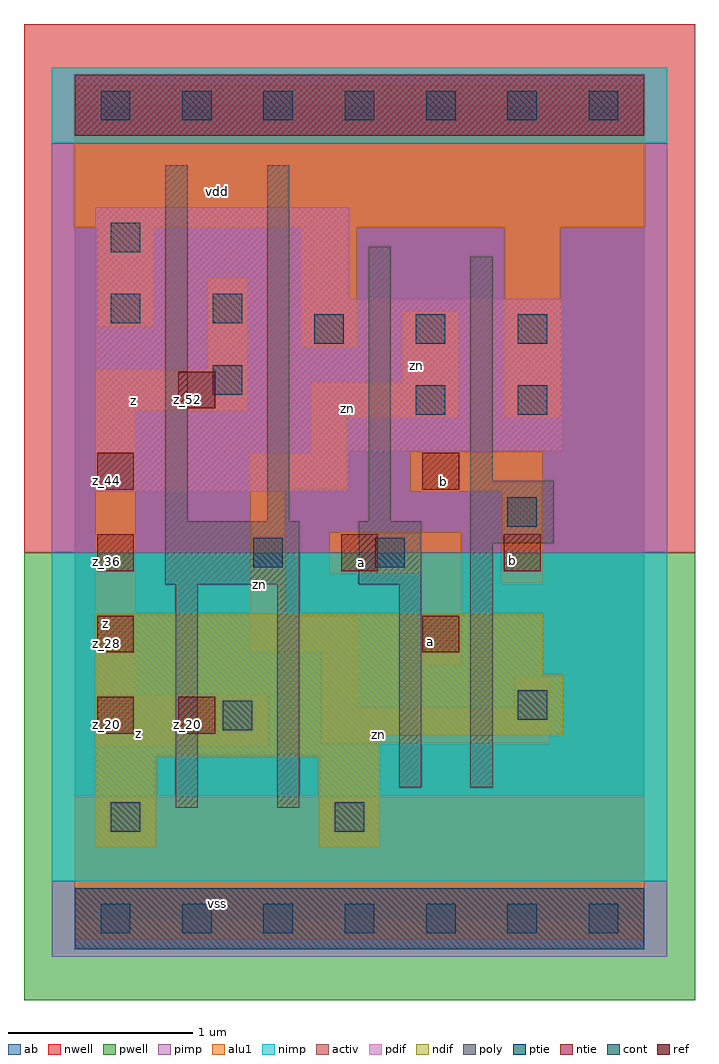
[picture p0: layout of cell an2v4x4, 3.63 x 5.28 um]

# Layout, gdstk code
import gdstk
lib = gdstk.Library(unit=1e-6, precision=2.5e-09)
def R(c, l, rs):  # rectangles x0, y0, x1, y1
    for r in rs: c.add(gdstk.rectangle(r[:2], r[2:], *l))
def A(c, l, x, y, w, h, nx, ny, dx, dy):  # array of equal rectangles
    R(c, l, [(x+i*dx, y+j*dy, x+i*dx+w, y+j*dy+h) for i in range(nx) for j in range(ny)])
ndif = (3, 0)
pdif = (4, 0)
ntie = (5, 0)
ptie = (6, 0)
ref = (24, 0)
cont = (25, 0)
pwell = (41, 0)
nwell = (42, 0)
activ = (43, 0)
pimp = (44, 0)
nimp = (45, 0)
poly = (46, 0)
alu1 = (49, 0)
ab = (63, 0)

an2v4x4 = lib.new_cell('an2v4x4')
R(an2v4x4, ndif, [(0.11,0.385,0.44,0.88), (1.32,0.385,1.65,0.88), (0.11,0.88,1.65,0.99), (0.11,0.99,2.64,1.32), (0.11,1.32,2.53,1.65)])
R(an2v4x4, pdif, [(0.11,2.31,1.485,2.53), (0.11,2.53,2.64,3.355), (0.11,3.355,1.485,3.85)])
R(an2v4x4, ntie, [(0,4.235,3.08,4.565)])
R(an2v4x4, ptie, [(0,-0.165,3.08,0.165)])
A(an2v4x4, ref, 0.12, 1, 0.2, 0.2, 1, 4, 0, 0.44)
R(an2v4x4, ref, [(0.56,1,0.76,1.2), (1.88,1.44,2.08,1.64), (1.44,1.88,1.64,2.08), (2.32,1.88,2.52,2.08), (1.88,2.32,2.08,2.52), (0.56,2.76,0.76,2.96)])
A(an2v4x4, cont, 0.14, -0.08, 0.16, 0.16, 7, 2, 0.44, 4.4)
A(an2v4x4, cont, 1.295, 3.11, 0.16, 0.16, 3, 1, 0.55, 0)
R(an2v4x4, cont, [(0.195,0.47,0.355,0.63), (1.405,0.47,1.565,0.63), (0.8,1.02,0.96,1.18), (2.395,1.075,2.555,1.235), (0.965,1.9,1.125,2.06), (1.625,1.9,1.785,2.06), (2.34,2.12,2.5,2.28), (1.845,2.725,2.005,2.885), (2.395,2.725,2.555,2.885), (0.745,2.835,0.905,2.995), (0.195,3.22,0.355,3.38), (0.745,3.22,0.905,3.38), (0.195,3.605,0.355,3.765)])
R(an2v4x4, pwell, [(-0.275,-0.44,3.355,1.98)])
R(an2v4x4, nwell, [(-0.275,1.98,3.355,4.84)])
R(an2v4x4, activ, [(0,-0.165,3.08,0.165), (0.11,0.385,0.44,0.88), (1.32,0.385,1.65,0.88), (0.11,0.88,1.65,0.99), (0.11,0.99,2.64,1.32), (0.11,1.32,2.53,1.65), (0.11,2.31,1.485,2.53), (0.11,2.53,2.64,3.355), (0.11,3.355,1.485,3.85), (0,4.235,3.08,4.565)])
R(an2v4x4, pimp, [(-0.125,-0.205,3.205,0.205), (-0.125,1.98,3.205,4.195)])
R(an2v4x4, nimp, [(-0.125,0.205,3.205,1.98), (-0.125,4.195,3.205,4.605)])
R(an2v4x4, poly, [(0.545,0.6,0.665,1.81), (1.095,0.6,1.215,1.81), (1.755,0.71,1.875,1.81), (2.14,0.71,2.26,2.03), (0.49,1.81,1.215,2.15), (1.535,1.81,1.875,2.15), (2.14,2.03,2.59,2.37), (0.49,2.15,0.61,4.075), (1.04,2.15,1.16,4.075), (1.59,2.15,1.71,3.635), (2.14,2.37,2.26,3.58)])
R(an2v4x4, alu1, [(0,-0.11,3.08,0.66), (0.11,0.935,1.045,1.21), (1.335,0.95,2.57,1.14), (1.335,1.14,1.525,1.445), (2.38,1.14,2.57,1.305), (0.11,1.21,0.33,2.75), (1.87,1.375,2.09,1.87), (0.95,1.445,1.525,1.635), (0.95,1.635,1.14,2.325), (2.31,1.815,2.53,2.31), (1.375,1.87,2.09,2.09), (1.815,2.31,2.53,2.53), (0.95,2.325,1.47,2.515), (1.28,2.515,1.47,2.71), (1.28,2.71,2.075,2.9), (2.325,2.71,2.625,3.74), (0.11,2.75,0.935,2.97), (1.775,2.9,2.075,3.285), (0.715,2.97,0.935,3.465), (1.225,3.095,1.525,3.74), (0.125,3.205,0.425,3.74), (0,3.74,3.08,4.51)])
R(an2v4x4, ab, [(0,0,3.08,4.4)])
an2v4x4.add(gdstk.Label('vss', (0.77,0.0825), layer=49, texttype=0))
an2v4x4.add(gdstk.Label('zn', (1.6425,0.9975), layer=49, texttype=0))
an2v4x4.add(gdstk.Label('b', (2.365,1.9375), layer=49, texttype=0))
an2v4x4.add(gdstk.Label('a', (1.925,1.4975), layer=49, texttype=0))
an2v4x4.add(gdstk.Label('z', (0.3425,1.0025), layer=49, texttype=0))
an2v4x4.add(gdstk.Label('a', (1.5525,1.925), layer=49, texttype=0))
an2v4x4.add(gdstk.Label('b', (1.9925,2.365), layer=49, texttype=0))
an2v4x4.add(gdstk.Label('zn', (0.9975,1.8075), layer=49, texttype=0))
an2v4x4.add(gdstk.Label('zn', (1.4775,2.7575), layer=49, texttype=0))
an2v4x4.add(gdstk.Label('z', (0.165,1.595), layer=49, texttype=0))
an2v4x4.add(gdstk.Label('zn', (1.85,2.995), layer=49, texttype=0))
an2v4x4.add(gdstk.Label('z', (0.315,2.805), layer=49, texttype=0))
an2v4x4.add(gdstk.Label('vdd', (0.77,3.9325), layer=49, texttype=0))
an2v4x4.add(gdstk.Label('z_20', (0.61,1.05), layer=24, texttype=0))
an2v4x4.add(gdstk.Label('z_52', (0.61,2.81), layer=24, texttype=0))
an2v4x4.add(gdstk.Label('a_36', (1.49,1.93), layer=24, texttype=0))
an2v4x4.add(gdstk.Label('a_28', (1.93,1.49), layer=24, texttype=0))
an2v4x4.add(gdstk.Label('b_44', (1.93,2.37), layer=24, texttype=0))
an2v4x4.add(gdstk.Label('z_20', (0.17,1.05), layer=24, texttype=0))
an2v4x4.add(gdstk.Label('z_28', (0.17,1.49), layer=24, texttype=0))
an2v4x4.add(gdstk.Label('z_36', (0.17,1.93), layer=24, texttype=0))
an2v4x4.add(gdstk.Label('z_44', (0.17,2.37), layer=24, texttype=0))
an2v4x4.add(gdstk.Label('b_36', (2.37,1.93), layer=24, texttype=0))

lib.write_gds('an2v4x4.gds')
